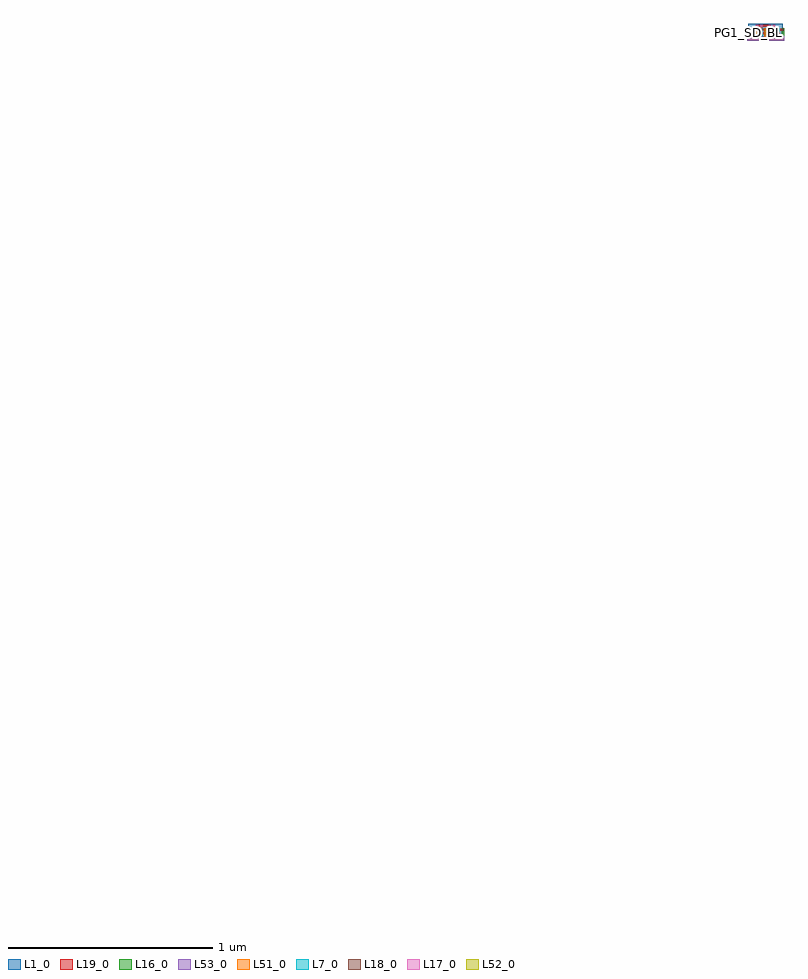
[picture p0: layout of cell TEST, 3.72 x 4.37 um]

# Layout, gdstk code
import gdstk
lib = gdstk.Library(unit=1e-6, precision=1e-09)
def R(c, l, rs):  # rectangles x0, y0, x1, y1
    for r in rs: c.add(gdstk.rectangle(r[:2], r[2:], *l))
def A(c, l, x, y, w, h, nx, ny, dx, dy):  # array of equal rectangles
    R(c, l, [(x+i*dx, y+j*dy, x+i*dx+w, y+j*dy+h) for i in range(nx) for j in range(ny)])
def P(c, l, *ps):  # polygons
    for p in ps: c.add(gdstk.Polygon(p, *l))
L1_0 = (1, 0)
L7_0 = (7, 0)
L16_0 = (16, 0)
L17_0 = (17, 0)
L18_0 = (18, 0)
L19_0 = (19, 0)
L51_0 = (51, 0)
L52_0 = (52, 0)
L53_0 = (53, 0)

test = lib.new_cell('TEST')
A(test, L1_0, 0, 0, 0.042, 0.072, 4, 1, 0.042, 0)
P(test, L1_0, [(-2.637,-3.867),(-2.637,-3.867),(-2.637,-3.867),(-2.637,-3.867)],
  [(-3.548,-4.293),(-3.548,-4.293),(-3.548,-4.293),(-3.548,-4.293)],
  [(0.151,-0.013),(0.151,-0.013),(0.151,-0.013),(0.151,-0.013)])
A(test, L7_0, 0.015, 0.011, 0.012, 0.04, 4, 1, 0.042, 0)
R(test, L16_0, [(0.078,-0.006,0.09,0.051), (-0.006,0.011,0.006,0.051), (0.015,0.011,0.027,0.051), (0.036,0.011,0.048,0.068), (0.057,0.011,0.069,0.068), (0.099,0.011,0.111,0.068), (0.12,0.011,0.132,0.068), (0.141,0.011,0.153,0.051), (0.162,0.011,0.174,0.051)])
R(test, L17_0, [(0.036,0.056,0.048,0.068), (0.057,0.056,0.069,0.068), (0.099,0.056,0.111,0.068), (0.12,0.056,0.132,0.068)])
A(test, L18_0, -0.005, 0.038, 0.01, 0.01, 3, 1, 0.063, 0)
R(test, L18_0, [(0.079,-0.005,0.089,0.005), (0.016,0.02,0.026,0.03), (0.142,0.02,0.152,0.03), (0.163,0.038,0.173,0.048), (0.037,0.057,0.047,0.067), (0.1,0.057,0.11,0.067)])
R(test, L19_0, [(-0.006,-0.011,0.174,0.011), (0.015,0.02,0.153,0.03), (-0.006,0.037,0.016,0.049), (0.057,0.037,0.132,0.049), (0.151,0.037,0.174,0.049), (0.036,0.057,0.111,0.067)])
R(test, L51_0, [(0.078,-0.006,0.09,0.051), (0.036,0.011,0.048,0.068), (0.057,0.011,0.069,0.068), (0.099,0.011,0.111,0.068), (0.12,0.011,0.132,0.068)])
R(test, L52_0, [(0.079,-0.005,0.089,0.005)])
R(test, L53_0, [(-0.006,-0.011,0.174,0.011)])
test.add(gdstk.Label('PG1_SD_BL', (0,0.031), layer=16, texttype=0))
test.add(gdstk.Label('PG1_SD_Q_PD1_SD_Q', (0.042,0.04), layer=16, texttype=0))
test.add(gdstk.Label('PD1_SD_VSS_PD2_SD_VSS', (0.084,0.022), layer=16, texttype=0))
test.add(gdstk.Label('PD2_SD_QB_PG2_SD_QB', (0.126,0.04), layer=16, texttype=0))
test.add(gdstk.Label('PG2_SD_BLB', (0.168,0.031), layer=16, texttype=0))
test.add(gdstk.Label('PD2_G_Q', (0.105,0.04), layer=16, texttype=0))
test.add(gdstk.Label('PD1_G_QB', (0.063,0.04), layer=16, texttype=0))
test.add(gdstk.Label('PG1_G_WL', (0.021,0.031), layer=16, texttype=0))
test.add(gdstk.Label('PG2_G_WL', (0.147,0.031), layer=16, texttype=0))
test.add(gdstk.Label('WL', (0.084,0.025), layer=19, texttype=0))
test.add(gdstk.Label('VSS', (0.084,0), layer=19, texttype=0))
test.add(gdstk.Label('BLB', (0.162,0.043), layer=19, texttype=0))
test.add(gdstk.Label('BL', (0.005,0.043), layer=19, texttype=0))
test.add(gdstk.Label('PU1_SD_Q', (0.042,0.04), layer=51, texttype=0))
test.add(gdstk.Label('PU1_G_QB', (0.063,0.04), layer=51, texttype=0))
test.add(gdstk.Label('PU2_G_Q', (0.105,0.04), layer=51, texttype=0))
test.add(gdstk.Label('PU2_SD_QB', (0.126,0.04), layer=51, texttype=0))
test.add(gdstk.Label('PU1_SD_VDD_PU2_SD_VDD', (0.084,0.022), layer=51, texttype=0))
test.add(gdstk.Label('VDD', (0.084,0), layer=53, texttype=0))

lib.write_gds('TEST.gds')
